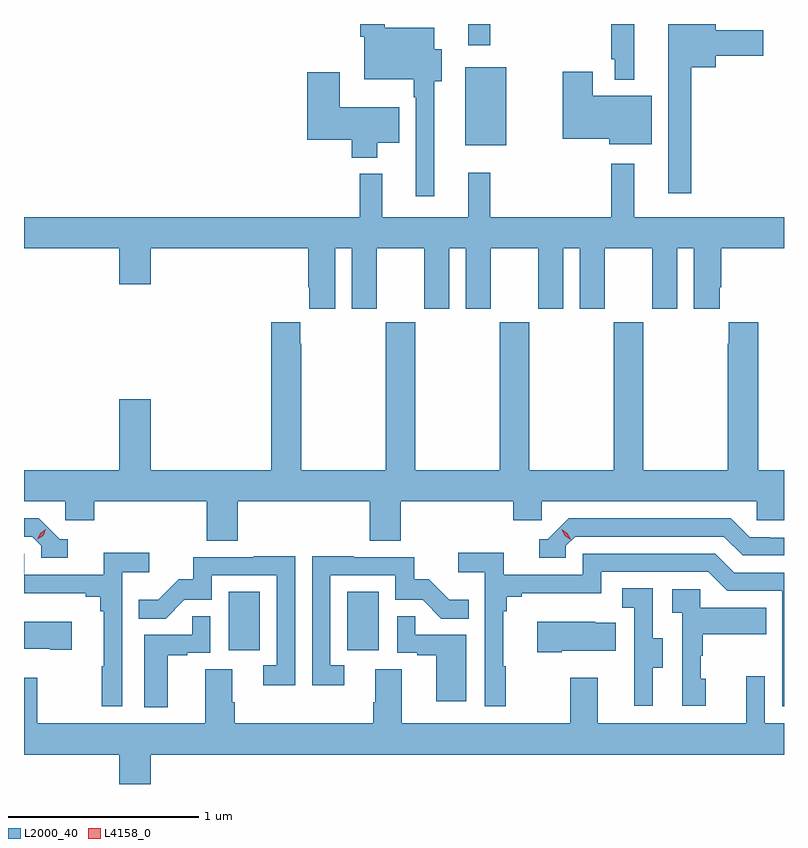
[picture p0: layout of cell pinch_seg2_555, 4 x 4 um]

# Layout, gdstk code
import gdstk
lib = gdstk.Library(unit=1e-6, precision=1e-09)
def R(c, l, rs):  # rectangles x0, y0, x1, y1
    for r in rs: c.add(gdstk.rectangle(r[:2], r[2:], *l))
def P(c, l, *ps):  # polygons
    for p in ps: c.add(gdstk.Polygon(p, *l))
L2000_40 = (2000, 40)
L4158_0 = (4158, 0)

pinch_seg2_555 = lib.new_cell('pinch_seg2_555')
R(pinch_seg2_555, L2000_40, [(1124.624,609.558,1124.788,609.865), (1125.248,609.558,1125.412,609.865), (1125.869,612.215,1126.084,612.625), (1125.884,612.741,1126.001,612.853)])
P(pinch_seg2_555, L2000_40, [(1126.759,612.853),(1126.638,612.853),(1126.638,612.667),(1126.655,612.667),(1126.655,612.56),(1126.759,612.56)],
  [(1127.059,612.626),(1127.188,612.626),(1127.188,612.686),(1127.437,612.686),(1127.437,612.82),(1127.188,612.82),(1127.188,612.853),(1126.937,612.853),(1126.937,611.961),(1127.059,611.961)],
  [(1125.706,612.551),(1125.745,612.551),(1125.745,612.721),(1125.706,612.721),(1125.706,612.832),(1125.445,612.832),(1125.445,612.853),(1125.316,612.853),(1125.316,612.785),(1125.336,612.785),(1125.336,612.563),(1125.597,612.563),(1125.597,612.467),(1125.609,612.467),(1125.609,611.946),(1125.706,611.946)],
  [(1126.849,612.475),(1126.54,612.475),(1126.54,612.601),(1126.382,612.601),(1126.382,612.248),(1126.626,612.248),(1126.626,612.221),(1126.849,612.221)],
  [(1125.406,612.227),(1125.52,612.227),(1125.52,612.415),(1125.208,612.415),(1125.208,612.598),(1125.038,612.598),(1125.038,612.245),(1125.272,612.245),(1125.272,612.149),(1125.406,612.149)],
  [(1123.546,611.672),(1124.048,611.672),(1124.048,611.484),(1124.212,611.484),(1124.212,611.672),(1125.041,611.672),(1125.041,611.467),(1125.047,611.467),(1125.047,611.355),(1125.184,611.355),(1125.184,611.672),(1125.272,611.672),(1125.272,611.355),(1125.403,611.355),(1125.403,611.672),(1125.653,611.672),(1125.653,611.355),(1125.784,611.355),(1125.784,611.672),(1125.872,611.672),(1125.872,611.355),(1126.003,611.355),(1126.003,611.672),(1126.253,611.672),(1126.253,611.355),(1126.384,611.355),(1126.384,611.672),(1126.472,611.672),(1126.472,611.355),(1126.603,611.355),(1126.603,611.672),(1126.853,611.672),(1126.853,611.355),(1126.984,611.355),(1126.984,611.672),(1127.072,611.672),(1127.072,611.355),(1127.209,611.355),(1127.209,611.467),(1127.216,611.467),(1127.216,611.672),(1127.546,611.672),(1127.546,611.836),(1126.759,611.836),(1126.759,612.118),(1126.638,612.118),(1126.638,611.836),(1126.001,611.836),(1126.001,612.07),(1125.884,612.07),(1125.884,611.836),(1125.431,611.836),(1125.431,612.064),(1125.313,612.064),(1125.313,611.836),(1123.546,611.836)],
  [(1124.672,610.34),(1125.365,610.34),(1125.365,610.132),(1125.53,610.132),(1125.53,610.34),(1126.121,610.34),(1126.121,610.242),(1126.272,610.242),(1126.272,610.34),(1127.403,610.34),(1127.403,610.242),(1127.546,610.242),(1127.546,610.504),(1127.411,610.504),(1127.411,611.284),(1127.255,611.284),(1127.255,611.171),(1127.251,611.171),(1127.251,610.504),(1126.806,610.504),(1126.806,611.284),(1126.651,611.284),(1126.651,610.504),(1126.206,610.504),(1126.206,611.284),(1126.051,611.284),(1126.051,610.504),(1125.606,610.504),(1125.606,611.284),(1125.451,611.284),(1125.451,610.504),(1125.006,610.504),(1125.006,611.171),(1125.001,611.171),(1125.001,611.284),(1124.846,611.284),(1124.846,610.504),(1124.212,610.504),(1124.212,610.879),(1124.048,610.879),(1124.048,610.504),(1123.546,610.504),(1123.546,610.34),(1123.764,610.34),(1123.764,610.242),(1123.916,610.242),(1123.916,610.34),(1124.507,610.34),(1124.507,610.132),(1124.672,610.132)],
  [(1123.777,610.14),(1123.734,610.14),(1123.623,610.251),(1123.546,610.251),(1123.546,610.155),(1123.59,610.155),(1123.638,610.107),(1123.638,610.044),(1123.777,610.044)],
  [(1126.398,610.107),(1126.446,610.155),(1127.229,610.155),(1127.328,610.056),(1127.546,610.056),(1127.546,610.149),(1127.472,610.149),(1127.472,610.152),(1127.365,610.152),(1127.266,610.251),(1126.413,610.251),(1126.302,610.14),(1126.259,610.14),(1126.259,610.044),(1126.398,610.044)],
  [(1126.081,609.473),(1126.069,609.473),(1126.069,609.761),(1126.088,609.761),(1126.088,609.838),(1126.165,609.838),(1126.165,609.857),(1126.584,609.857),(1126.584,609.969),(1127.148,609.969),(1127.247,609.87),(1127.538,609.87),(1127.538,609.261),(1127.546,609.261),(1127.546,609.966),(1127.284,609.966),(1127.185,610.065),(1126.488,610.065),(1126.488,609.954),(1126.07,609.954),(1126.07,610.07),(1125.831,610.07),(1125.831,609.968),(1125.972,609.968),(1125.972,609.261),(1126.081,609.261)],
  [(1124.064,609.968),(1124.206,609.968),(1124.206,610.07),(1123.967,610.07),(1123.967,609.954),(1123.548,609.954),(1123.548,610.065),(1123.546,610.065),(1123.546,609.857),(1123.871,609.857),(1123.871,609.838),(1123.948,609.838),(1123.948,609.761),(1123.967,609.761),(1123.967,609.473),(1123.956,609.473),(1123.956,609.261),(1124.064,609.261)],
  [(1124.973,610.052),(1124.755,610.052),(1124.755,610.047),(1124.437,610.047),(1124.437,609.93),(1124.36,609.93),(1124.253,609.823),(1124.149,609.823),(1124.149,609.724),(1124.292,609.724),(1124.39,609.822),(1124.535,609.822),(1124.535,609.951),(1124.877,609.951),(1124.877,609.477),(1124.805,609.477),(1124.805,609.372),(1124.973,609.372)],
  [(1125.232,609.477),(1125.159,609.477),(1125.159,609.951),(1125.501,609.951),(1125.501,609.822),(1125.645,609.822),(1125.743,609.724),(1125.887,609.724),(1125.887,609.823),(1125.783,609.823),(1125.676,609.93),(1125.6,609.93),(1125.6,610.047),(1125.281,610.047),(1125.281,610.052),(1125.063,610.052),(1125.063,609.372),(1125.232,609.372)],
  [(1126.855,609.466),(1126.909,609.466),(1126.909,609.621),(1126.854,609.621),(1126.854,609.884),(1126.695,609.884),(1126.695,609.781),(1126.758,609.781),(1126.758,609.477),(1126.757,609.477),(1126.757,609.264),(1126.855,609.264)],
  [(1127.134,609.408),(1127.109,609.408),(1127.109,609.527),(1127.119,609.527),(1127.119,609.641),(1127.453,609.641),(1127.453,609.781),(1127.106,609.781),(1127.106,609.879),(1126.959,609.879),(1126.959,609.755),(1127.01,609.755),(1127.01,609.264),(1127.134,609.264)],
  [(1124.302,609.531),(1124.405,609.531),(1124.405,609.543),(1124.526,609.543),(1124.526,609.737),(1124.431,609.737),(1124.431,609.639),(1124.18,609.639),(1124.18,609.257),(1124.302,609.257)],
  [(1125.874,609.639),(1125.605,609.639),(1125.605,609.737),(1125.51,609.737),(1125.51,609.543),(1125.617,609.543),(1125.617,609.531),(1125.716,609.531),(1125.716,609.288),(1125.874,609.288)],
  [(1126.375,609.554),(1126.661,609.554),(1126.661,609.703),(1126.553,609.703),(1126.553,609.706),(1126.247,609.706),(1126.247,609.547),(1126.375,609.547)],
  [(1123.798,609.706),(1123.546,609.706),(1123.546,609.566),(1123.685,609.566),(1123.685,609.559),(1123.798,609.559)],
  [(1124.212,609.008),(1127.546,609.008),(1127.546,609.172),(1127.445,609.172),(1127.445,609.421),(1127.348,609.421),(1127.348,609.172),(1126.567,609.172),(1126.567,609.412),(1126.42,609.412),(1126.42,609.172),(1125.535,609.172),(1125.535,609.458),(1125.395,609.458),(1125.395,609.284),(1125.383,609.284),(1125.383,609.172),(1124.654,609.172),(1124.654,609.284),(1124.641,609.284),(1124.641,609.458),(1124.501,609.458),(1124.501,609.172),(1123.617,609.172),(1123.617,609.412),(1123.546,609.412),(1123.546,609.008),(1124.048,609.008),(1124.048,608.853),(1124.212,608.853)])
P(pinch_seg2_555, L4158_0, [(1126.422,610.141),(1126.391,610.16),(1126.375,610.193),(1126.375,610.193),(1126.375,610.193),(1126.406,610.174),(1126.423,610.142),(1126.423,610.141)],
  [(1123.615,610.14),(1123.615,610.14),(1123.631,610.173),(1123.661,610.193),(1123.661,610.193),(1123.661,610.193),(1123.646,610.16),(1123.616,610.14)])

lib.write_gds('pinch_seg2_555.gds')
